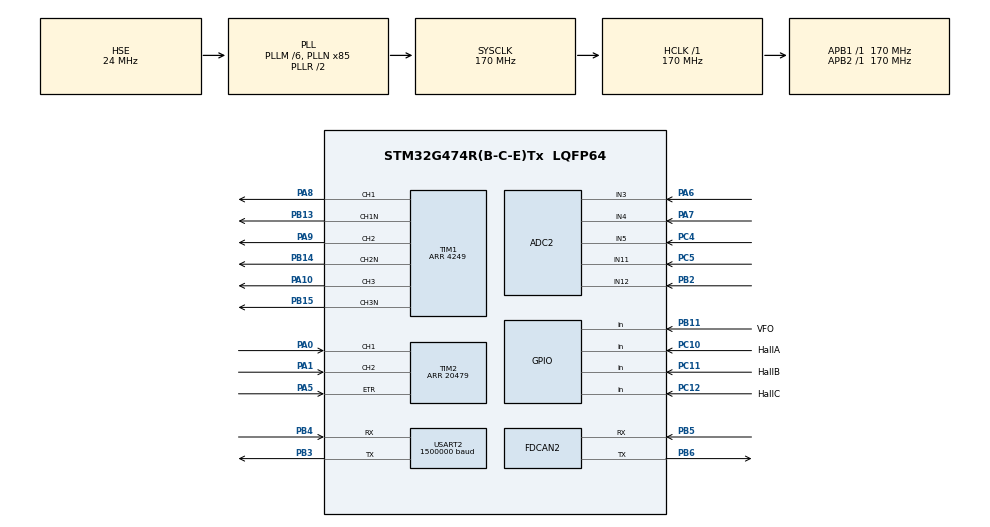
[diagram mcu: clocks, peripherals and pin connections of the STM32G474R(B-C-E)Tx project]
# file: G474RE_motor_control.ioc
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ADC2.Channel-1\#ChannelRegularConversion=ADC_CHANNEL_3
ADC2.Channel-2\#ChannelRegularConversion=ADC_CHANNEL_4
ADC2.Channel-3\#ChannelRegularConversion=ADC_CHANNEL_5
ADC2.Channel-4\#ChannelRegularConversion=ADC_CHANNEL_11
ADC2.ContinuousConvMode=ENABLE
ADC2.DMAContinuousRequests=ENABLE
ADC2.ExternalTrigConv=ADC_EXTERNALTRIG_T1_TRGO
ADC2.NbrOfConversion=4
ADC2.NbrOfConversionFlag=1
ADC2.OffsetNumber-1\#ChannelRegularConversion=ADC_OFFSET_NONE
ADC2.OffsetNumber-2\#ChannelRegularConversion=ADC_OFFSET_NONE
ADC2.OffsetNumber-3\#ChannelRegularConversion=ADC_OFFSET_NONE
ADC2.OffsetNumber-4\#ChannelRegularConversion=ADC_OFFSET_NONE
ADC2.OversamplingMode=ENABLE
ADC2.Rank-1\#ChannelRegularConversion=1
ADC2.Rank-2\#ChannelRegularConversion=2
ADC2.Rank-3\#ChannelRegularConversion=3
ADC2.Rank-4\#ChannelRegularConversion=4
ADC2.Ratio=ADC_OVERSAMPLING_RATIO_4
ADC2.RightBitShift=ADC_RIGHTBITSHIFT_2
ADC2.SamplingTime-1\#ChannelRegularConversion=ADC_SAMPLETIME_6CYCLES_5
ADC2.SamplingTime-2\#ChannelRegularConversion=ADC_SAMPLETIME_6CYCLES_5
ADC2.SamplingTime-3\#ChannelRegularConversion=ADC_SAMPLETIME_6CYCLES_5
ADC2.SamplingTime-4\#ChannelRegularConversion=ADC_SAMPLETIME_12CYCLES_5
ADC2.SingleDiff-4\#ChannelRegularConversion=ADC_DIFFERENTIAL_ENDED
Dma.ADC2.0.Direction=DMA_PERIPH_TO_MEMORY
Dma.ADC2.0.EventEnable=DISABLE
Dma.ADC2.0.Instance=DMA1_Channel1
Dma.ADC2.0.MemDataAlignment=DMA_MDATAALIGN_HALFWORD
Dma.ADC2.0.MemInc=DMA_MINC_ENABLE
Dma.ADC2.0.Mode=DMA_CIRCULAR
Dma.ADC2.0.PeriphDataAlignment=DMA_PDATAALIGN_HALFWORD
Dma.ADC2.0.PeriphInc=DMA_PINC_DISABLE
Dma.ADC2.0.Polarity=HAL_DMAMUX_REQ_GEN_RISING
Dma.ADC2.0.Priority=DMA_PRIORITY_LOW
Dma.ADC2.0.RequestNumber=1
Dma.ADC2.0.SignalID=NONE
Dma.ADC2.0.SyncEnable=DISABLE
Dma.ADC2.0.SyncPolarity=HAL_DMAMUX_SYNC_NO_EVENT
Dma.ADC2.0.SyncRequestNumber=1
Dma.ADC2.0.SyncSignalID=NONE
Dma.Request0=ADC2
FDCAN2.CalculateBaudRateNominal=3541666
FDCAN2.CalculateTimeBitNominal=282
FDCAN2.CalculateTimeQuantumNominal=94.11764705882354
Mcu.Family=STM32G4
Mcu.Name=STM32G474R(B-C-E)Tx
Mcu.Package=LQFP64
NVIC.ADC1_2_IRQn=true\:0\:0\:false\:false\:true\:true\:true\:true
NVIC.DMA1_Channel1_IRQn=true\:0\:0\:false\:false\:true\:false\:true\:true
NVIC.PriorityGroup=NVIC_PRIORITYGROUP_4
NVIC.TIM1_UP_TIM16_IRQn=true\:0\:0\:false\:false\:true\:true\:true\:true
NVIC.TIM7_DAC_IRQn=true\:0\:0\:false\:false\:true\:true\:true\:true
PA0.Signal=S_TIM2_CH1
PA1.Signal=S_TIM2_CH2
PA10.Signal=S_TIM1_CH3
PA13.Mode=Serial_Wire
PA13.Signal=SYS_JTMS-SWDIO
PA14.Mode=Serial_Wire
PA14.Signal=SYS_JTCK-SWCLK
PA5.Signal=S_TIM2_ETR
PA6.Mode=IN3-Single-Ended
PA6.Signal=ADC2_IN3
PA7.Mode=IN4-Single-Ended
PA7.Signal=ADC2_IN4
PA8.Signal=S_TIM1_CH1
PA9.Signal=S_TIM1_CH2
PB11.GPIO_Label=VFO
PB11.Signal=GPIO_Input
PB13.Mode=PWM Generation1 CH1 CH1N
PB13.Signal=TIM1_CH1N
PB14.Mode=PWM Generation2 CH2 CH2N
PB14.Signal=TIM1_CH2N
PB15.Mode=PWM Generation3 CH3 CH3N
PB15.Signal=TIM1_CH3N
PB2.Mode=IN11-Differential
PB2.Signal=ADC2_IN12
PB3.Mode=Asynchronous
PB3.Signal=USART2_TX
PB4.Mode=Asynchronous
PB4.Signal=USART2_RX
PB5.Mode=FDCAN_Activate
PB5.Signal=FDCAN2_RX
PB6.Mode=FDCAN_Activate
PB6.Signal=FDCAN2_TX
PC10.GPIO_Label=HallA
PC10.Signal=GPIO_Input
PC11.GPIO_Label=HallB
PC11.Signal=GPIO_Input
PC12.GPIO_Label=HallC
PC12.Signal=GPIO_Input
PC4.Mode=IN5-Single-Ended
PC4.Signal=ADC2_IN5
PC5.Mode=IN11-Differential
PC5.Signal=ADC2_IN11
PF0-OSC_IN.Mode=HSE-External-Oscillator
PF0-OSC_IN.Signal=RCC_OSC_IN
PF1-OSC_OUT.Mode=HSE-External-Oscillator
PF1-OSC_OUT.Signal=RCC_OSC_OUT
ProjectManager.HeapSize=0x200
ProjectManager.StackSize=0x400
ProjectManager.TargetToolchain=STM32CubeIDE
RCC.ADC12Freq_Value=170000000
RCC.ADC345Freq_Value=170000000
RCC.AHBFreq_Value=170000000
RCC.APB1Freq_Value=170000000
RCC.APB1TimFreq_Value=170000000
RCC.APB2Freq_Value=170000000
RCC.APB2TimFreq_Value=170000000
RCC.CortexFreq_Value=170000000
RCC.EXTERNAL_CLOCK_VALUE=12288000
RCC.EnbaleCSS=true
RCC.HCLKFreq_Value=170000000
RCC.HSE_VALUE=24000000
RCC.HSI48_VALUE=48000000
RCC.HSI_VALUE=16000000
RCC.LSE_VALUE=32768
RCC.PLLM=RCC_PLLM_DIV6
RCC.PLLN=85
RCC.PLLSourceVirtual=RCC_PLLSOURCE_HSE
RCC.SYSCLKFreq_VALUE=170000000
RCC.SYSCLKSource=RCC_SYSCLKSOURCE_PLLCLK
RCC.USBFreq_Value=170000000
RCC.VCOOutputFreq_Value=340000000
SH.S_TIM1_CH1.0=TIM1_CH1,PWM Generation1 CH1 CH1N
SH.S_TIM1_CH2.0=TIM1_CH2,PWM Generation2 CH2 CH2N
SH.S_TIM1_CH3.0=TIM1_CH3,PWM Generation3 CH3 CH3N
SH.S_TIM2_CH1.0=TIM2_CH1,Encoder_Interface_w_index
SH.S_TIM2_CH2.0=TIM2_CH2,Encoder_Interface_w_index
SH.S_TIM2_ETR.0=TIM2_ETR,Encoder_Interface_w_index
TIM1.Channel-PWM\ Generation1\ CH1\ CH1N=TIM_CHANNEL_1
TIM1.Channel-PWM\ Generation2\ CH2\ CH2N=TIM_CHANNEL_2
TIM1.Channel-PWM\ Generation3\ CH3\ CH3N=TIM_CHANNEL_3
TIM1.CounterMode=TIM_COUNTERMODE_CENTERALIGNED2
TIM1.DeadTime=100
TIM1.PeriodNoDither=4249
TIM1.TIM_MasterOutputTrigger=TIM_TRGO_UPDATE
TIM2.EncoderMode=TIM_ENCODERMODE_TI12
TIM2.PeriodNoDither=20479
TIM5.PeriodNoDither=4294967295
TIM5.Prescaler=169
TIM7.PeriodNoDither=4999
TIM7.Prescaler=16
USART2.BaudRate=1500000
USART2.VirtualMode-Asynchronous=VM_ASYNC
VP_CORDIC_VS_CORDIC.Mode=CORDIC_Activate
VP_SYS_VS_DBSignals.Mode=DisableDeadBatterySignals
VP_TIM5_VS_ClockSourceINT.Mode=Internal
VP_TIM7_VS_ClockSourceINT.Mode=Enable_Timer
board=custom

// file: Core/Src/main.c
/* USER CODE BEGIN Header */
/**
  ******************************************************************************
  * @file           : main.c
  * @brief          : Main program body
  ******************************************************************************
  * @attention
  *
  * Copyright (c) 2026 STMicroelectronics.
  * All rights reserved.
  *
  * This software is licensed under terms that can be found in the LICENSE file
  * in the root directory of this software component.
  * If no LICENSE file comes with this software, it is provided AS-IS.
  *
  ******************************************************************************
  */
/* USER CODE END Header */
#include "main.h"

/* USER CODE BEGIN Includes */
#include "motor_ctrl.h"
/* USER CODE END Includes */

ADC_HandleTypeDef hadc2;
DMA_HandleTypeDef hdma_adc2;

FDCAN_HandleTypeDef hfdcan2;

TIM_HandleTypeDef htim1;
TIM_HandleTypeDef htim2;
TIM_HandleTypeDef htim5;
TIM_HandleTypeDef htim7;

UART_HandleTypeDef huart2;

/* USER CODE BEGIN PV */
sMotor Motor1; // 모터 제어 구조체 전역 변수
/* USER CODE END PV */

void SystemClock_Config(void);
static void MX_GPIO_Init(void);
static void MX_DMA_Init(void);
static void MX_ADC2_Init(void);
static void MX_FDCAN2_Init(void);
static void MX_TIM1_Init(void);
static void MX_TIM2_Init(void);
static void MX_USART2_UART_Init(void);
static void MX_CORDIC_Init(void);
static void MX_TIM7_Init(void);
static void MX_TIM5_Init(void);

int main(void)
{

  /* MCU Configuration--------------------------------------------------------*/

  /* Reset of all peripherals, Initializes the Flash interface and the Systick. */
  HAL_Init();

  /* Configure the system clock */
  SystemClock_Config();

  /* Initialize all configured peripherals */
  MX_GPIO_Init();
  MX_DMA_Init();
  MX_ADC2_Init();
  MX_FDCAN2_Init();
  MX_TIM1_Init();
  MX_TIM2_Init();
  MX_USART2_UART_Init();
  MX_CORDIC_Init();
  MX_TIM7_Init();
  MX_TIM5_Init();
  /* USER CODE BEGIN 2 */
  Motor1.PWMDrv.htim = &htim1; // TIM1을 PWM 드라이버에 연결
  Motor1.PWMDrv.ChannelA = TIM_CHANNEL_3;
  Motor1.PWMDrv.ChannelB = TIM_CHANNEL_2;
  Motor1.PWMDrv.ChannelC = TIM_CHANNEL_1;

  Motor1.ADCDrv.hadc = &hadc2; // ADC2를 ADC 드라이버에 연결
  Motor1.ADCDrv.OffsetIA = 2048; // 전류 센서 A 오프셋
  Motor1.ADCDrv.OffsetIB = 2048; // 전류 센서 B 오프셋
  Motor1.ADCDrv.OffsetIC = 2048; // 전류 센서 C 오프셋
  Motor1.ADCDrv.OffsetVDC = 2048; // 전압 센서 오프셋
  Motor1.ADCDrv.ScaleI = 0.01221001221001f;
  Motor1.ADCDrv.ScaleV = 0.06446886446886f;

  Motor1.HallDrv.htim = &htim5; // HTIM5을 홀 센서 타이머에 연결
  Motor1.HallDrv.HallAPin = HallA_Pin;
  Motor1.HallDrv.HallAPort = HallA_GPIO_Port;
  Motor1.HallDrv.HallBPin = HallB_Pin;
  Motor1.HallDrv.HallBPort = HallB_GPIO_Port;
  Motor1.HallDrv.HallCPin = HallC_Pin;
  Motor1.HallDrv.HallCPort = HallC_GPIO_Port;

  Motor1.IPIPrescaler = 10; // 전류 PI 제어 계산 주기 프리스케일러 설정 (예: 10이면 10번에 1번 계산)

  MOTOR_Init(&Motor1); // 모터 제어 시스템 초기화

  // 2. PI 제어기 초기화
  PI_Init(&Motor1.PIId, 0.5f, 0.0f, 0.00005f, -2.0f, 2.0f); // d축 전류 제어기 (Kp, Ki, Min, Max)
  PI_Init(&Motor1.PIIq, 0.5f, 10.0f, 0.00005f, -2.0f, 2.0f); // q축 전류 제어기 (Kp, Ki, Min, Max)
  PI_Init(&Motor1.PISpeed, 1.0f, 0.01f, 0.001f, -300.0f, 300.0f); // 속도 제어기 (Kp, Ki, Min, Max)

  MOTOR_Start(&Motor1); // 모터 구동 시작

  HAL_TIM_Base_Start_IT(&htim7); // 테스트용 타이머
  /* USER CODE END 2 */

  /* Infinite loop */
  while (1)
  {

  }
}

void SystemClock_Config(void)
{
  RCC_OscInitTypeDef RCC_OscInitStruct = {0};
  RCC_ClkInitTypeDef RCC_ClkInitStruct = {0};

  /** Configure the main internal regulator output voltage
  */
  HAL_PWREx_ControlVoltageScaling(PWR_REGULATOR_VOLTAGE_SCALE1_BOOST);

  /** Initializes the RCC Oscillators according to the specified parameters
  * in the RCC_OscInitTypeDef structure.
  */
  RCC_OscInitStruct.OscillatorType = RCC_OSCILLATORTYPE_HSE;
  RCC_OscInitStruct.HSEState = RCC_HSE_ON;
  RCC_OscInitStruct.PLL.PLLState = RCC_PLL_ON;
  RCC_OscInitStruct.PLL.PLLSource = RCC_PLLSOURCE_HSE;
  RCC_OscInitStruct.PLL.PLLM = RCC_PLLM_DIV6;
  RCC_OscInitStruct.PLL.PLLN = 85;
  RCC_OscInitStruct.PLL.PLLP = RCC_PLLP_DIV2;
  RCC_OscInitStruct.PLL.PLLQ = RCC_PLLQ_DIV2;
  RCC_OscInitStruct.PLL.PLLR = RCC_PLLR_DIV2;
  if (HAL_RCC_OscConfig(&RCC_OscInitStruct) != HAL_OK)
  {
    Error_Handler();
  }

  /** Initializes the CPU, AHB and APB buses clocks
  */
  RCC_ClkInitStruct.ClockType = RCC_CLOCKTYPE_HCLK|RCC_CLOCKTYPE_SYSCLK
                              |RCC_CLOCKTYPE_PCLK1|RCC_CLOCKTYPE_PCLK2;
  RCC_ClkInitStruct.SYSCLKSource = RCC_SYSCLKSOURCE_PLLCLK;
  RCC_ClkInitStruct.AHBCLKDivider = RCC_SYSCLK_DIV1;
  RCC_ClkInitStruct.APB1CLKDivider = RCC_HCLK_DIV1;
  RCC_ClkInitStruct.APB2CLKDivider = RCC_HCLK_DIV1;

  if (HAL_RCC_ClockConfig(&RCC_ClkInitStruct, FLASH_LATENCY_4) != HAL_OK)
  {
    Error_Handler();
  }

  /** Enables the Clock Security System
  */
  HAL_RCC_EnableCSS();
}

static void MX_ADC2_Init(void)
{

  ADC_ChannelConfTypeDef sConfig = {0};

  /** Common config
  */
  hadc2.Instance = ADC2;
  hadc2.Init.ClockPrescaler = ADC_CLOCK_SYNC_PCLK_DIV4;
  hadc2.Init.Resolution = ADC_RESOLUTION_12B;
  hadc2.Init.DataAlign = ADC_DATAALIGN_RIGHT;
  hadc2.Init.GainCompensation = 0;
  hadc2.Init.ScanConvMode = ADC_SCAN_ENABLE;
  hadc2.Init.EOCSelection = ADC_EOC_SINGLE_CONV;
  hadc2.Init.LowPowerAutoWait = DISABLE;
  hadc2.Init.ContinuousConvMode = ENABLE;
  hadc2.Init.NbrOfConversion = 4;
  hadc2.Init.DiscontinuousConvMode = DISABLE;
  hadc2.Init.ExternalTrigConv = ADC_EXTERNALTRIG_T1_TRGO;
  hadc2.Init.ExternalTrigConvEdge = ADC_EXTERNALTRIGCONVEDGE_RISING;
  hadc2.Init.DMAContinuousRequests = ENABLE;
  hadc2.Init.Overrun = ADC_OVR_DATA_PRESERVED;
  hadc2.Init.OversamplingMode = ENABLE;
  hadc2.Init.Oversampling.Ratio = ADC_OVERSAMPLING_RATIO_4;
  hadc2.Init.Oversampling.RightBitShift = ADC_RIGHTBITSHIFT_2;
  hadc2.Init.Oversampling.TriggeredMode = ADC_TRIGGEREDMODE_SINGLE_TRIGGER;
  hadc2.Init.Oversampling.OversamplingStopReset = ADC_REGOVERSAMPLING_CONTINUED_MODE;
  if (HAL_ADC_Init(&hadc2) != HAL_OK)
  {
    Error_Handler();
  }

  /** Configure Regular Channel
  */
  sConfig.Channel = ADC_CHANNEL_3;
  sConfig.Rank = ADC_REGULAR_RANK_1;
  sConfig.SamplingTime = ADC_SAMPLETIME_6CYCLES_5;
  sConfig.SingleDiff = ADC_SINGLE_ENDED;
  sConfig.OffsetNumber = ADC_OFFSET_NONE;
  sConfig.Offset = 0;
  if (HAL_ADC_ConfigChannel(&hadc2, &sConfig) != HAL_OK)
  {
    Error_Handler();
  }

  /** Configure Regular Channel
  */
  sConfig.Channel = ADC_CHANNEL_4;
  sConfig.Rank = ADC_REGULAR_RANK_2;
  if (HAL_ADC_ConfigChannel(&hadc2, &sConfig) != HAL_OK)
  {
    Error_Handler();
  }

  /** Configure Regular Channel
  */
  sConfig.Channel = ADC_CHANNEL_5;
  sConfig.Rank = ADC_REGULAR_RANK_3;
  if (HAL_ADC_ConfigChannel(&hadc2, &sConfig) != HAL_OK)
  {
    Error_Handler();
  }

  /** Configure Regular Channel
  */
  sConfig.Channel = ADC_CHANNEL_11;
  sConfig.Rank = ADC_REGULAR_RANK_4;
  sConfig.SamplingTime = ADC_SAMPLETIME_12CYCLES_5;
  sConfig.SingleDiff = ADC_DIFFERENTIAL_ENDED;
  if (HAL_ADC_ConfigChannel(&hadc2, &sConfig) != HAL_OK)
  {
    Error_Handler();
  }

}

static void MX_CORDIC_Init(void)
{

  /* Peripheral clock enable */
  LL_AHB1_GRP1_EnableClock(LL_AHB1_GRP1_PERIPH_CORDIC);

  /* nothing else to be configured */

}

static void MX_FDCAN2_Init(void)
{

  hfdcan2.Instance = FDCAN2;
  hfdcan2.Init.ClockDivider = FDCAN_CLOCK_DIV1;
  hfdcan2.Init.FrameFormat = FDCAN_FRAME_CLASSIC;
  hfdcan2.Init.Mode = FDCAN_MODE_NORMAL;
  hfdcan2.Init.AutoRetransmission = DISABLE;
  hfdcan2.Init.TransmitPause = DISABLE;
  hfdcan2.Init.ProtocolException = DISABLE;
  hfdcan2.Init.NominalPrescaler = 16;
  hfdcan2.Init.NominalSyncJumpWidth = 1;
  hfdcan2.Init.NominalTimeSeg1 = 1;
  hfdcan2.Init.NominalTimeSeg2 = 1;
  hfdcan2.Init.DataPrescaler = 1;
  hfdcan2.Init.DataSyncJumpWidth = 1;
  hfdcan2.Init.DataTimeSeg1 = 1;
  hfdcan2.Init.DataTimeSeg2 = 1;
  hfdcan2.Init.StdFiltersNbr = 0;
  hfdcan2.Init.ExtFiltersNbr = 0;
  hfdcan2.Init.TxFifoQueueMode = FDCAN_TX_FIFO_OPERATION;
  if (HAL_FDCAN_Init(&hfdcan2) != HAL_OK)
  {
    Error_Handler();
  }

}

static void MX_TIM1_Init(void)
{

  TIM_MasterConfigTypeDef sMasterConfig = {0};
  TIM_OC_InitTypeDef sConfigOC = {0};
  TIM_BreakDeadTimeConfigTypeDef sBreakDeadTimeConfig = {0};

  htim1.Instance = TIM1;
  htim1.Init.Prescaler = 0;
  htim1.Init.CounterMode = TIM_COUNTERMODE_CENTERALIGNED2;
  htim1.Init.Period = 4249;
  htim1.Init.ClockDivision = TIM_CLOCKDIVISION_DIV1;
  htim1.Init.RepetitionCounter = 0;
  htim1.Init.AutoReloadPreload = TIM_AUTORELOAD_PRELOAD_DISABLE;
  if (HAL_TIM_PWM_Init(&htim1) != HAL_OK)
  {
    Error_Handler();
  }
  sMasterConfig.MasterOutputTrigger = TIM_TRGO_UPDATE;
  sMasterConfig.MasterOutputTrigger2 = TIM_TRGO2_RESET;
  sMasterConfig.MasterSlaveMode = TIM_MASTERSLAVEMODE_DISABLE;
  if (HAL_TIMEx_MasterConfigSynchronization(&htim1, &sMasterConfig) != HAL_OK)
  {
    Error_Handler();
  }
  sConfigOC.OCMode = TIM_OCMODE_PWM1;
  sConfigOC.Pulse = 0;
  sConfigOC.OCPolarity = TIM_OCPOLARITY_HIGH;
  sConfigOC.OCNPolarity = TIM_OCNPOLARITY_HIGH;
  sConfigOC.OCFastMode = TIM_OCFAST_DISABLE;
  sConfigOC.OCIdleState = TIM_OCIDLESTATE_RESET;
  sConfigOC.OCNIdleState = TIM_OCNIDLESTATE_RESET;
  if (HAL_TIM_PWM_ConfigChannel(&htim1, &sConfigOC, TIM_CHANNEL_1) != HAL_OK)
  {
    Error_Handler();
  }
  if (HAL_TIM_PWM_ConfigChannel(&htim1, &sConfigOC, TIM_CHANNEL_2) != HAL_OK)
  {
    Error_Handler();
  }
  if (HAL_TIM_PWM_ConfigChannel(&htim1, &sConfigOC, TIM_CHANNEL_3) != HAL_OK)
  {
    Error_Handler();
  }
  sBreakDeadTimeConfig.OffStateRunMode = TIM_OSSR_DISABLE;
  sBreakDeadTimeConfig.OffStateIDLEMode = TIM_OSSI_DISABLE;
  sBreakDeadTimeConfig.LockLevel = TIM_LOCKLEVEL_OFF;
  sBreakDeadTimeConfig.DeadTime = 100;
  sBreakDeadTimeConfig.BreakState = TIM_BREAK_DISABLE;
  sBreakDeadTimeConfig.BreakPolarity = TIM_BREAKPOLARITY_HIGH;
  sBreakDeadTimeConfig.BreakFilter = 0;
  sBreakDeadTimeConfig.BreakAFMode = TIM_BREAK_AFMODE_INPUT;
  sBreakDeadTimeConfig.Break2State = TIM_BREAK2_DISABLE;
  sBreakDeadTimeConfig.Break2Polarity = TIM_BREAK2POLARITY_HIGH;
  sBreakDeadTimeConfig.Break2Filter = 0;
  sBreakDeadTimeConfig.Break2AFMode = TIM_BREAK_AFMODE_INPUT;
  sBreakDeadTimeConfig.AutomaticOutput = TIM_AUTOMATICOUTPUT_DISABLE;
  if (HAL_TIMEx_ConfigBreakDeadTime(&htim1, &sBreakDeadTimeConfig) != HAL_OK)
  {
    Error_Handler();
  }
  HAL_TIM_MspPostInit(&htim1);

}

static void MX_TIM2_Init(void)
{

  TIM_Encoder_InitTypeDef sConfig = {0};
  TIM_MasterConfigTypeDef sMasterConfig = {0};
  TIMEx_EncoderIndexConfigTypeDef sEncoderIndexConfig = {0};

  htim2.Instance = TIM2;
  htim2.Init.Prescaler = 0;
  htim2.Init.CounterMode = TIM_COUNTERMODE_UP;
  htim2.Init.Period = 20479;
  htim2.Init.ClockDivision = TIM_CLOCKDIVISION_DIV1;
  htim2.Init.AutoReloadPreload = TIM_AUTORELOAD_PRELOAD_DISABLE;
  sConfig.EncoderMode = TIM_ENCODERMODE_TI12;
  sConfig.IC1Polarity = TIM_ICPOLARITY_RISING;
  sConfig.IC1Selection = TIM_ICSELECTION_DIRECTTI;
  sConfig.IC1Prescaler = TIM_ICPSC_DIV1;
  sConfig.IC1Filter = 0;
  sConfig.IC2Polarity = TIM_ICPOLARITY_RISING;
  sConfig.IC2Selection = TIM_ICSELECTION_DIRECTTI;
  sConfig.IC2Prescaler = TIM_ICPSC_DIV1;
  sConfig.IC2Filter = 0;
  if (HAL_TIM_Encoder_Init(&htim2, &sConfig) != HAL_OK)
  {
    Error_Handler();
  }
  sMasterConfig.MasterOutputTrigger = TIM_TRGO_RESET;
  sMasterConfig.MasterSlaveMode = TIM_MASTERSLAVEMODE_DISABLE;
  if (HAL_TIMEx_MasterConfigSynchronization(&htim2, &sMasterConfig) != HAL_OK)
  {
    Error_Handler();
  }
  sEncoderIndexConfig.Polarity = TIM_ENCODERINDEX_POLARITY_NONINVERTED;
  sEncoderIndexConfig.Prescaler = TIM_ENCODERINDEX_PRESCALER_DIV1;
  sEncoderIndexConfig.Filter = 0;
  sEncoderIndexConfig.FirstIndexEnable = DISABLE;
  sEncoderIndexConfig.Position = TIM_ENCODERINDEX_POSITION_00;
  sEncoderIndexConfig.Direction = TIM_ENCODERINDEX_DIRECTION_UP_DOWN;
  if (HAL_TIMEx_ConfigEncoderIndex(&htim2, &sEncoderIndexConfig) != HAL_OK)
  {
    Error_Handler();
  }

}

static void MX_TIM5_Init(void)
{

  TIM_ClockConfigTypeDef sClockSourceConfig = {0};
  TIM_MasterConfigTypeDef sMasterConfig = {0};

  htim5.Instance = TIM5;
  htim5.Init.Prescaler = 169;
  htim5.Init.CounterMode = TIM_COUNTERMODE_UP;
  htim5.Init.Period = 4294967295;
  htim5.Init.ClockDivision = TIM_CLOCKDIVISION_DIV1;
  htim5.Init.AutoReloadPreload = TIM_AUTORELOAD_PRELOAD_DISABLE;
  if (HAL_TIM_Base_Init(&htim5) != HAL_OK)
  {
    Error_Handler();
  }
  sClockSourceConfig.ClockSource = TIM_CLOCKSOURCE_INTERNAL;
  if (HAL_TIM_ConfigClockSource(&htim5, &sClockSourceConfig) != HAL_OK)
  {
    Error_Handler();
  }
  sMasterConfig.MasterOutputTrigger = TIM_TRGO_RESET;
  sMasterConfig.MasterSlaveMode = TIM_MASTERSLAVEMODE_DISABLE;
  if (HAL_TIMEx_MasterConfigSynchronization(&htim5, &sMasterConfig) != HAL_OK)
  {
    Error_Handler();
  }

}

static void MX_TIM7_Init(void)
{

  TIM_MasterConfigTypeDef sMasterConfig = {0};

  htim7.Instance = TIM7;
  htim7.Init.Prescaler = 16;
  htim7.Init.CounterMode = TIM_COUNTERMODE_UP;
  htim7.Init.Period = 4999;
  htim7.Init.AutoReloadPreload = TIM_AUTORELOAD_PRELOAD_DISABLE;
  if (HAL_TIM_Base_Init(&htim7) != HAL_OK)
  {
    Error_Handler();
  }
  sMasterConfig.MasterOutputTrigger = TIM_TRGO_RESET;
  sMasterConfig.MasterSlaveMode = TIM_MASTERSLAVEMODE_DISABLE;
  if (HAL_TIMEx_MasterConfigSynchronization(&htim7, &sMasterConfig) != HAL_OK)
  {
    Error_Handler();
  }

}

static void MX_USART2_UART_Init(void)
{

  huart2.Instance = USART2;
  huart2.Init.BaudRate = 1500000;
  huart2.Init.WordLength = UART_WORDLENGTH_8B;
  huart2.Init.StopBits = UART_STOPBITS_1;
  huart2.Init.Parity = UART_PARITY_NONE;
  huart2.Init.Mode = UART_MODE_TX_RX;
  huart2.Init.HwFlowCtl = UART_HWCONTROL_NONE;
  huart2.Init.OverSampling = UART_OVERSAMPLING_16;
  huart2.Init.OneBitSampling = UART_ONE_BIT_SAMPLE_DISABLE;
  huart2.Init.ClockPrescaler = UART_PRESCALER_DIV1;
  huart2.AdvancedInit.AdvFeatureInit = UART_ADVFEATURE_NO_INIT;
  if (HAL_UART_Init(&huart2) != HAL_OK)
  {
    Error_Handler();
  }
  if (HAL_UARTEx_SetTxFifoThreshold(&huart2, UART_TXFIFO_THRESHOLD_1_8) != HAL_OK)
  {
    Error_Handler();
  }
  if (HAL_UARTEx_SetRxFifoThreshold(&huart2, UART_RXFIFO_THRESHOLD_1_8) != HAL_OK)
  {
    Error_Handler();
  }
  if (HAL_UARTEx_DisableFifoMode(&huart2) != HAL_OK)
  {
    Error_Handler();
  }

}

static void MX_DMA_Init(void)
{

  /* DMA controller clock enable */
  __HAL_RCC_DMAMUX1_CLK_ENABLE();
  __HAL_RCC_DMA1_CLK_ENABLE();

  /* DMA interrupt init */
  /* DMA1_Channel1_IRQn interrupt configuration */
  HAL_NVIC_SetPriority(DMA1_Channel1_IRQn, 0, 0);
  HAL_NVIC_EnableIRQ(DMA1_Channel1_IRQn);

}

static void MX_GPIO_Init(void)
{
  GPIO_InitTypeDef GPIO_InitStruct = {0};

  /* GPIO Ports Clock Enable */
  __HAL_RCC_GPIOF_CLK_ENABLE();
  __HAL_RCC_GPIOA_CLK_ENABLE();
  __HAL_RCC_GPIOC_CLK_ENABLE();
  __HAL_RCC_GPIOB_CLK_ENABLE();

  /*Configure GPIO pin : VFO_Pin */
  GPIO_InitStruct.Pin = VFO_Pin;
  GPIO_InitStruct.Mode = GPIO_MODE_INPUT;
  GPIO_InitStruct.Pull = GPIO_NOPULL;
  HAL_GPIO_Init(VFO_GPIO_Port, &GPIO_InitStruct);

  /*Configure GPIO pins : HallA_Pin HallB_Pin HallC_Pin */
  GPIO_InitStruct.Pin = HallA_Pin|HallB_Pin|HallC_Pin;
  GPIO_InitStruct.Mode = GPIO_MODE_INPUT;
  GPIO_InitStruct.Pull = GPIO_NOPULL;
  HAL_GPIO_Init(GPIOC, &GPIO_InitStruct);

}

/* USER CODE BEGIN 4 */
void HAL_ADC_ConvCpltCallback(ADC_HandleTypeDef* hadc) {
    // 우리가 할당한 전류 센싱용 ADC가 맞는지 확인
    if(hadc->Instance == Motor1.ADCDrv.hadc->Instance) {
        // FOC 알고리즘 1회전 실행
        MOTOR_Update_ISR(&Motor1);
    }
}

void HAL_TIM_PeriodElapsedCallback(TIM_HandleTypeDef *htim) {
    if (htim->Instance == TIM7) { // 0.5ms마다 실행되는 타이머
        // 홀센서 측정
        HALL_Update(&Motor1.HallDrv);
    }
}
/* USER CODE END 4 */

void Error_Handler(void)
{
  __disable_irq();
  while (1)
  {
  }
}
